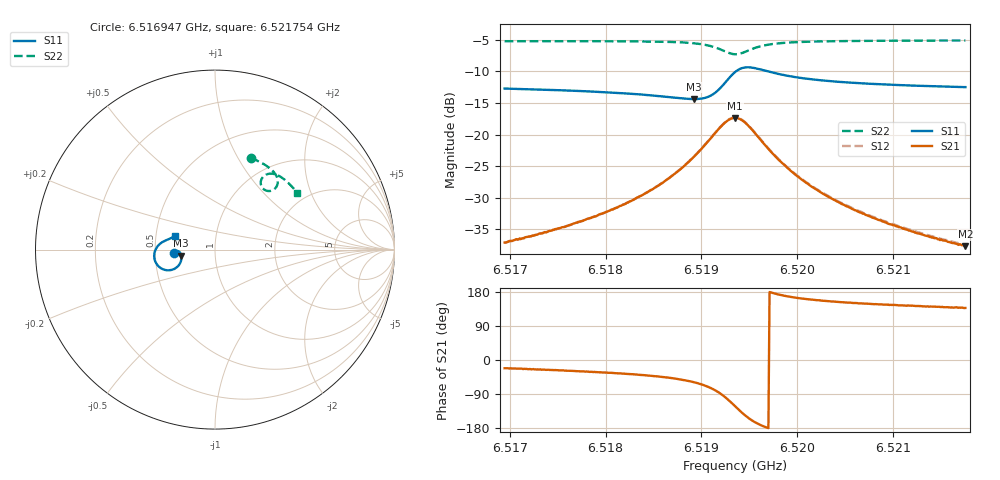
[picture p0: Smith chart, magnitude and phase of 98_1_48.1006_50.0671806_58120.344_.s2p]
#  HZ  S  RI  R  50.00
! Rohde & Schwarz Vector Network Analyzer
! Rohde-Schwarz,ZNB20-2Port,1311601062101988,3.16
! Created: UTC 12/23/2023, 3:44:28 AM
! freq[Hz]  re:S11  im:S11  re:S21  im:S21  re:S12  im:S12  re:S22  im:S22
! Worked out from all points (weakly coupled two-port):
!   401 points, 6.516947 GHz to 6.521754 GHz, reference 50 ohm
!   highest |S21| = -17.35 dB at 6.519351 GHz (marker M1); lowest = -37.7 dB at 6.521754 GHz (marker M2)
!   lowest |S11| = -14.4 dB at 6.518918 GHz (marker M3), VSWR 1.47, Z = 34.1 - j2.4 ohm
!   |S11| at or under -10 dB: start of sweep to 6.519359 GHz; 6.519696 GHz to end of sweep
!   |S22| runs from -7.3 to -5.1 dB; largest |S21 - S12| = 0.0042
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6.5169475e9  -0.2308 -0.0183  0.013 -0.00519  0.0132 -0.00472  0.1997 0.5106
6.517368e9  -0.2264 -0.012  0.0153 -0.00739  0.0154 -0.00682  0.2307 0.4979
6.5177525e9  -0.2209 -0.00736  0.0179 -0.0104  0.0182 -0.00978  0.2593 0.4836
6.518185e9  -0.2124 -0.00524  0.0226 -0.0164  0.0231 -0.0157  0.2918 0.4635
6.5185575e9  -0.2016 -0.00964  0.0287 -0.0275  0.0297 -0.0267  0.3205 0.4395
6.5187618e9  -0.1937 -0.0189  0.033 -0.0398  0.0344 -0.0391  0.3364 0.4204
6.518918e9  -0.1881 -0.0339  0.0349 -0.0565  0.0368 -0.0556  0.3466 0.399
6.5190261e9  -0.1873 -0.0521  0.0323 -0.0742  0.0348 -0.0737  0.35 0.3787
6.5191222e9  -0.1945 -0.076  0.0222 -0.0961  0.0252 -0.0961  0.3453 0.3559
6.5192544e9  -0.2364 -0.1115  -0.0206 -0.1241  -0.0172 -0.1258  0.313 0.3278
6.5193024e9  -0.2637 -0.1154  -0.0458 -0.1248  -0.0427 -0.1271  0.2933 0.3268
6.5193505e9  -0.2931 -0.1081  -0.0713 -0.1154  -0.0686 -0.1182  0.2738 0.3346
6.5193986e9  -0.3178 -0.0899  -0.0914 -0.0968  -0.0893 -0.1001  0.2602 0.3503
6.5194586e9  -0.3354 -0.0589  -0.1037 -0.0681  -0.1024 -0.0716  0.2547 0.3741
6.5195548e9  -0.336 -0.0137  -0.0993 -0.0293  -0.0994 -0.0324  0.2666 0.4041
6.5196629e9  -0.3206 0.0173  -0.0826 -0.00506  -0.0833 -0.00761  0.2891 0.4195
6.5199032e9  -0.2883 0.0446  -0.0529 0.0114  -0.0536 0.0101  0.3305 0.4208
6.5201555e9  -0.2682 0.054  -0.0361 0.0136  -0.037 0.0129  0.3591 0.4093
6.5204559e9  -0.2539 0.0599  -0.0252 0.0131  -0.0261 0.0123  0.3844 0.3926
6.5209605e9  -0.2392 0.0675  -0.0161 0.0112  -0.0168 0.0109  0.4176 0.363
6.521369e9  -0.2309 0.0732  -0.0122 0.0099  -0.0127 0.00971  0.4399 0.3382
6.5217535e9  -0.2244 0.0785  -0.00963 0.00889  -0.0102 0.00876  0.4589 0.3143
